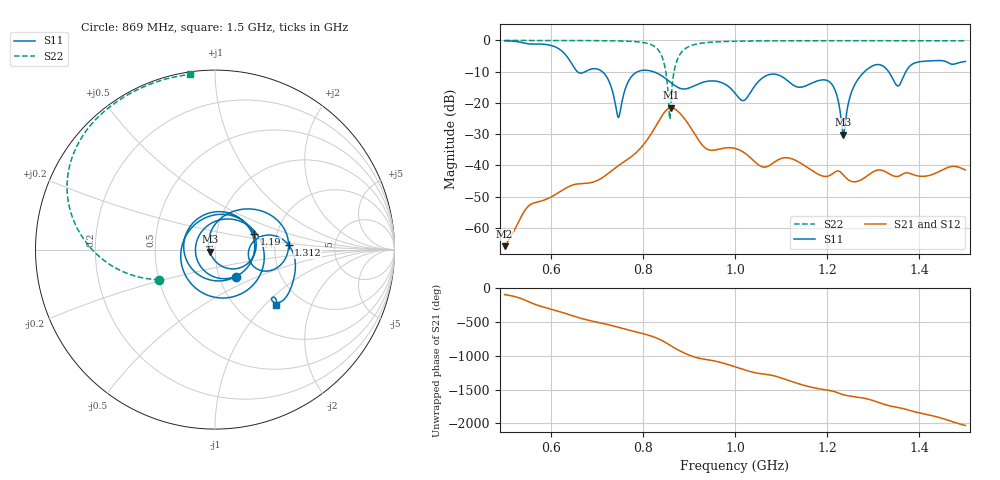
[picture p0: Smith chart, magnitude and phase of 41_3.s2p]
! TOUCHSTONE file generated by CST MICROWAVE STUDIO
! Date and time: Fri Dec 11 14:18:30 2020
! Project name: Scenario_1_Planar_Body_Tissue_Out_of_Line_v2.cst
! Parameters = {dy1=346; L_HA=400; Ltissue=700; MT=2.54; Rad_Dielectric=30; Rad_Lower=7.3; Rad_Upper=30; Wtissue=700; a_HA=580; a_WG=246; b_HA=500; b_WG=121; c_HA=0; c_WG=187; d_feed=85; dx1=520; h_feed=15; h_lower=18; h_upper=40; hfat=3; hgap=25; hmuscle=50; hskin=1.5}
! Header version: 2018
! Port assignment regex: !\s*Touchstone port\s*([0-9]+)\s*=\s*(CST MWS port|CST DS port)\s*([0-9]+|Zmin|Zmax)\s*\(\"(.*)\"\)(\s*mode\s*([0-9]+))?.*
! Touchstone port assignment:
! Touchstone port 1 = CST MWS port 1 ("")
! Touchstone port 2 = CST MWS port 2 ("")
# GHz S DB R 50
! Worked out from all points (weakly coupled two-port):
!   1003 points, 500 MHz to 1.5 GHz, reference 50 ohm
!   highest |S21| = -21.57 dB at 861 MHz (marker M1); lowest = -65.8 dB at 500 MHz (marker M2)
!   lowest |S11| = -30.1 dB at 1.235 GHz (marker M3), VSWR 1.06, Z = 47.2 - j1.1 ohm
!   |S11| at or under -10 dB: 712 MHz to 788.5 MHz (76.58 MHz wide, 10.2 % of centre); 822.6 MHz to 1.281 GHz (458.5 MHz wide, 43.6 % of centre); 1.333 GHz to 1.371 GHz (37.36 MHz wide, 2.76 % of centre)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
!   |S22| runs from -25.2 to 0.0 dB; largest |S21 - S12| = 5e-05
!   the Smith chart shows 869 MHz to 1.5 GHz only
!   S11 on the Smith chart (normalised r, x): 869 MHz: 1.20, -0.38; 1.19 GHz: 1.52, +0.29; 1.312 GHz: 2.39, +0.14; 1.5 GHz: 1.48, -1.17
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0.5  -0.11 -122.0  -65.83 -91.9  -65.83 -91.9  -0.01 151.2
0.596  -1.44 -173.7  -50.45 59.8  -50.45 59.8  -0.02 144.5
0.667  -10.45 155.3  -45.81 -86.6  -45.81 -86.6  -0.04 138.4
0.716  -10.58 110.6  -43.53 -164.0  -43.53 -164.0  -0.09 132.9
0.747  -24.65 -31.8  -40.06 142.8  -40.06 142.8  -0.16 128.1
0.787  -10.11 160.5  -35.69 72.1  -35.69 72.1  -0.42 118.3
0.834  -10.71 54.6  -25.95 -28.5  -25.95 -28.5  -3.13 84.4
0.861  -13.52 -24.1  -21.57 -131.6  -21.57 -131.6  -19.40 -114.6
0.869  -14.40 -52.3  -21.90 -164.6  -21.90 -164.6  -9.06 -151.7
0.904  -15.01 167.0  -27.93 81.0  -27.93 81.0  -1.70 166.4
0.958  -13.02 11.1  -35.02 0.6  -35.02 0.6  -0.48 147.4
1  -16.86 -102.0  -34.56 -83.2  -34.56 -83.2  -0.27 140.4
1.044  -14.33 62.1  -38.97 -171.2  -38.97 -171.2  -0.17 135.2
1.1  -11.44 -87.4  -37.77 112.0  -37.77 112.0  -0.12 129.8
1.167  -13.65 68.6  -41.62 -27.0  -41.63 -27.0  -0.10 124.3
1.19  -12.62 22.5  -43.38 -57.1  -43.38 -57.1  -0.09 122.5
1.216  -15.53 -38.3  -42.19 -90.8  -42.25 -90.7  -0.09 120.5
1.235  -30.13 -158.0  -43.04 -137.1  -43.04 -137.1  -0.08 119.1
1.262  -13.59 71.0  -45.21 -167.0  -45.21 -166.9  -0.08 117.0
1.312  -7.73 3.4  -41.44 108.3  -41.44 108.3  -0.09 113.3
1.334  -10.14 -22.7  -42.62 61.4  -42.62 61.4  -0.08 111.6
1.5  -6.71 -42.3  -41.46 128.1  -41.46 128.1  -0.13 98.1
